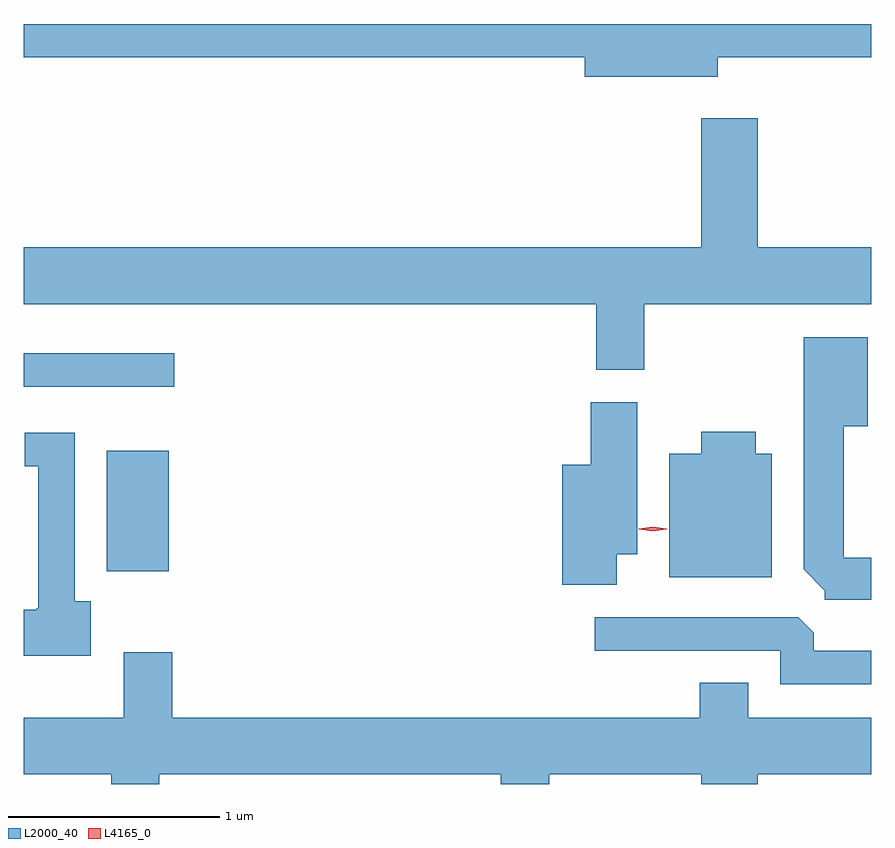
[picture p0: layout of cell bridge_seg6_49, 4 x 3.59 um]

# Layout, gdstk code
import gdstk
lib = gdstk.Library(unit=1e-6, precision=1e-09)
def R(c, l, rs):  # rectangles x0, y0, x1, y1
    for r in rs: c.add(gdstk.rectangle(r[:2], r[2:], *l))
def P(c, l, *ps):  # polygons
    for p in ps: c.add(gdstk.Polygon(p, *l))
L2000_40 = (2000, 40)
L4165_0 = (4165, 0)

bridge_seg6_49 = lib.new_cell('bridge_seg6_49')
R(bridge_seg6_49, L2000_40, [(1550.931,1584.296,1551.224,1584.864), (1550.539,1585.166,1551.248,1585.324)])
P(bridge_seg6_49, L2000_40, [(1553.814,1586.721),(1554.539,1586.721),(1554.539,1586.879),(1550.539,1586.879),(1550.539,1586.721),(1553.186,1586.721),(1553.186,1586.631),(1553.814,1586.631)],
  [(1553.469,1585.556),(1554.539,1585.556),(1554.539,1585.824),(1554.004,1585.824),(1554.004,1586.434),(1553.736,1586.434),(1553.736,1585.824),(1550.539,1585.824),(1550.539,1585.556),(1553.241,1585.556),(1553.241,1585.246),(1553.469,1585.246)],
  [(1554.539,1584.359),(1554.409,1584.359),(1554.409,1584.981),(1554.524,1584.981),(1554.524,1585.399),(1554.221,1585.399),(1554.221,1584.304),(1554.321,1584.204),(1554.321,1584.161),(1554.539,1584.161)],
  [(1553.339,1584.376),(1553.434,1584.376),(1553.434,1585.094),(1553.216,1585.094),(1553.216,1584.799),(1553.081,1584.799),(1553.081,1584.231),(1553.339,1584.231)],
  [(1554.069,1584.849),(1553.994,1584.849),(1553.994,1584.954),(1553.736,1584.954),(1553.736,1584.849),(1553.586,1584.849),(1553.586,1584.266),(1554.069,1584.266)],
  [(1550.854,1584.154),(1550.779,1584.154),(1550.779,1584.949),(1550.543,1584.949),(1550.543,1584.791),(1550.606,1584.791),(1550.606,1584.12),(1550.6,1584.12),(1550.6,1584.114),(1550.539,1584.114),(1550.539,1583.896),(1550.854,1583.896)],
  [(1554.539,1583.919),(1554.269,1583.919),(1554.269,1584.004),(1554.194,1584.079),(1553.233,1584.079),(1553.233,1583.921),(1554.111,1583.921),(1554.111,1583.761),(1554.539,1583.761)],
  [(1551.179,1583.336),(1552.791,1583.336),(1552.791,1583.291),(1553.019,1583.291),(1553.019,1583.336),(1553.736,1583.336),(1553.736,1583.291),(1554.004,1583.291),(1554.004,1583.336),(1554.539,1583.336),(1554.539,1583.604),(1553.959,1583.604),(1553.959,1583.769),(1553.731,1583.769),(1553.731,1583.604),(1551.239,1583.604),(1551.239,1583.914),(1551.011,1583.914),(1551.011,1583.604),(1550.539,1583.604),(1550.539,1583.336),(1550.951,1583.336),(1550.951,1583.291),(1551.179,1583.291)])
P(bridge_seg6_49, L4165_0, [(1553.509,1584.485),(1553.443,1584.494),(1553.443,1584.495),(1553.443,1584.495),(1553.509,1584.505),(1553.575,1584.495),(1553.575,1584.495),(1553.575,1584.494)])

lib.write_gds('bridge_seg6_49.gds')
